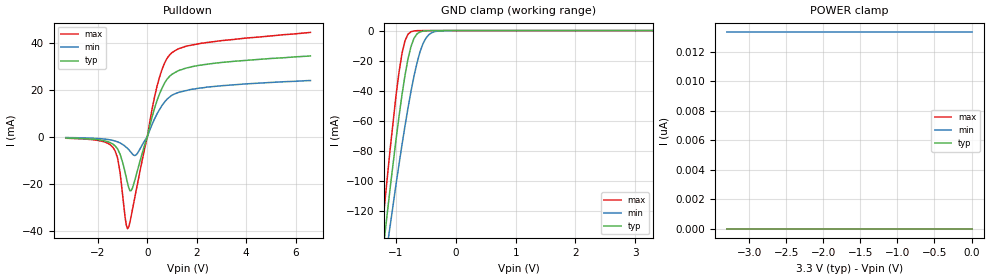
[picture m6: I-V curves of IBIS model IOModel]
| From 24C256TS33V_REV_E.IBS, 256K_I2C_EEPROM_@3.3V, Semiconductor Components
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|**********************IOModel**********************************
[Model]   IOModel
Model_type   I/O_open_drain
|   Model for pin SDA
Vinl =  0.99V
Vinh =  2.31V
C_comp   8.00pF   8.00pF   8.00pF
[Voltage Range]   3.30V   3.00V   3.60V
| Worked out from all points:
|   slope of the pulldown table from 0 to 0.495 V, typ, clamps not added: 27.1 ohm
|   GND clamp passes 1 mA (typ) near -0.60 V on its own axis
[Pulldown]
| [Pulldown] IV curves include only the current through
| the channel of output driver transistor when output is low.
| Although the output driver transistors has a np diode
| inherently created by CMOS IC fabrication between the
| drain and bulk of n-channel CMOS transistor,
| the current through this junction diode is not included in
| [Pulldown].  Instead that drain/bulk diode current is
| included in the [GND_clamp] section, which is
| not dependent on the state of output data value.
|Voltage   I(typ)   I(min)   I(max)
-3.3V     -537uA     -338uA     -637uA
-1.4V     -3.07mA    -1.54mA    -4.4mA
-1.2V     -5.25mA    -2.18mA    -9.19mA
-900mV    -15.1mA    -4.04mA    -34.1mA
-800mV    -19.7mA    -4.97mA    -39.1mA
-700mV    -23mA      -6.11mA    -36.2mA
-600mV    -21.8mA    -7.38mA    -30.9mA
-350mV    -12.4mA    -6.2mA     -17.5mA
400mV     15.6mA     9.88mA     21.8mA
900mV     25.7mA     16.9mA     34.8mA
2.1V      30.4mA     20.7mA     39.6mA
6.6V      34.4mA     23.9mA     44.4mA
[GND_clamp]
-3.3V     -957mA     -817mA     -1.09A
-1.3V     -176mA     -188mA     -162mA
-1.2V     -140mA     -158mA     -119mA
-1.1V     -105mA     -130mA     -79.3mA
-1V       -72.3mA    -102mA     -43mA
-900mV    -42.5mA    -75.7mA    -15.1mA
-850mV    -29.7mA    -63.2mA    -6.74mA
-750mV    -10.6mA    -40.3mA    -763uA
-650mV    -2.24mA    -21.5mA    -65.7uA
-550mV    -350uA     -8.75mA    -5.47uA
-350mV    -7.26uA    -673uA     -37.7nA
3.3V      10pA       13.3nA     26.2fA
[POWER_clamp]
| Voltages for [POWER_clamp] are specified with
| negative respect to Vcc.  Reference the IBIS documentation
| for more information regarding Vtable = Vcc - Voutput.
| voltage   I(typ)   I(min)   I(max)
-3.3V     10pA       13.3nA     26.6fA
-500mV    10pA       13.3nA     26.6fA
-400mV    10pA       13.3nA     26.2fA
0V        10pA       13.3nA     26.2fA
[Ramp]
| variable   typ   min   max
dV/dt_f   1.998V/54.5ns   1.808V/56.5ns   2.173V/52.1ns
dV/dt_r   2.00V/332ns   1.787V/325ns   2.172V/315ns
R_load = 1k
| End [Model] IOModel
| End [Component]   256K I2C EEPROM @3.3V
